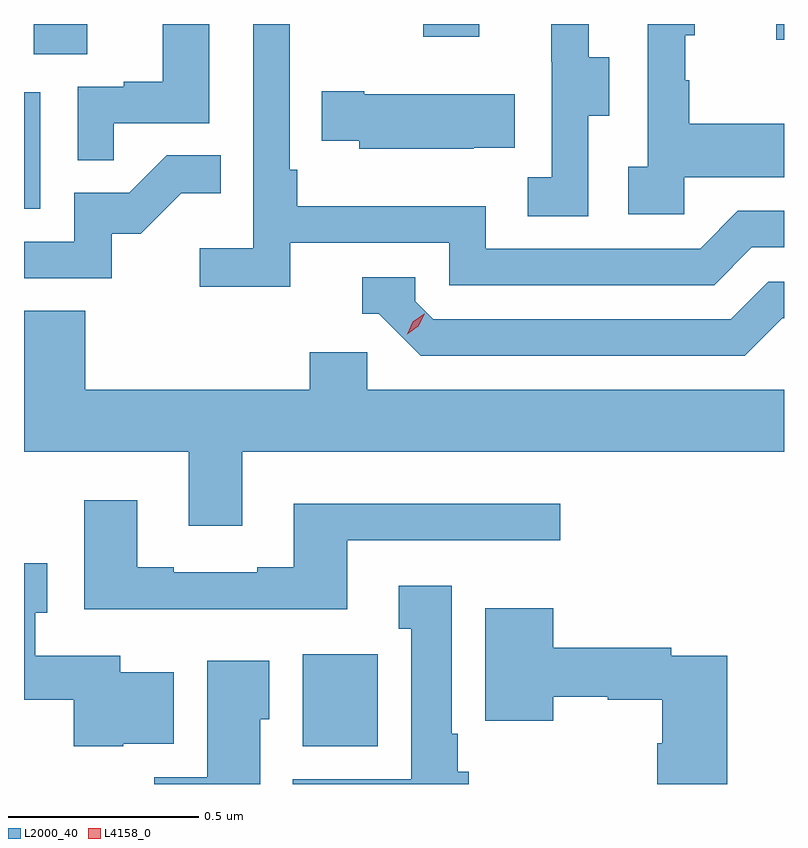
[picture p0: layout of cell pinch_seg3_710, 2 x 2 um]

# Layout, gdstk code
import gdstk
lib = gdstk.Library(unit=1e-6, precision=1e-09)
def R(c, l, rs):  # rectangles x0, y0, x1, y1
    for r in rs: c.add(gdstk.rectangle(r[:2], r[2:], *l))
def P(c, l, *ps):  # polygons
    for p in ps: c.add(gdstk.Polygon(p, *l))
L2000_40 = (2000, 40)
L4158_0 = (4158, 0)

pinch_seg3_710 = lib.new_cell('pinch_seg3_710')
R(pinch_seg3_710, L2000_40, [(1109.897,681.494,1110.094,681.736), (1109.163,682.908,1109.206,683.215), (1109.189,683.314,1109.329,683.394), (1111.142,683.352,1111.163,683.394), (1110.214,683.361,1110.361,683.394)])
P(pinch_seg3_710, L2000_40, [(1109.399,683.133),(1109.65,683.133),(1109.65,683.394),(1109.528,683.394),(1109.528,683.242),(1109.425,683.242),(1109.425,683.229),(1109.304,683.229),(1109.304,683.035),(1109.399,683.035)],
  [(1110.9,682.991),(1111.163,682.991),(1111.163,683.131),(1110.913,683.131),(1110.913,683.246),(1110.903,683.246),(1110.903,683.364),(1110.928,683.364),(1110.928,683.394),(1110.804,683.394),(1110.804,683.018),(1110.753,683.018),(1110.753,682.893),(1110.9,682.893)],
  [(1110.648,683.152),(1110.703,683.152),(1110.703,683.307),(1110.649,683.307),(1110.649,683.394),(1110.551,683.394),(1110.551,683.295),(1110.552,683.295),(1110.552,682.991),(1110.489,682.991),(1110.489,682.888),(1110.648,682.888)],
  [(1109.864,682.818),(1110.282,682.818),(1110.282,682.707),(1110.979,682.707),(1111.078,682.806),(1111.163,682.806),(1111.163,682.902),(1111.041,682.902),(1110.942,682.803),(1110.378,682.803),(1110.378,682.915),(1109.882,682.915),(1109.882,683.011),(1109.862,683.011),(1109.862,683.394),(1109.766,683.394),(1109.766,682.804),(1109.625,682.804),(1109.625,682.702),(1109.864,682.702)],
  [(1110.347,683.069),(1110.455,683.069),(1110.455,683.209),(1110.058,683.209),(1110.058,683.217),(1109.947,683.217),(1109.947,683.087),(1110.045,683.087),(1110.045,683.066),(1110.347,683.066)],
  [(1109.394,682.842),(1109.47,682.842),(1109.577,682.949),(1109.681,682.949),(1109.681,683.048),(1109.538,683.048),(1109.44,682.95),(1109.295,682.95),(1109.295,682.821),(1109.163,682.821),(1109.163,682.725),(1109.394,682.725)],
  [(1111.159,682.62),(1111.163,682.62),(1111.163,682.716),(1111.122,682.716),(1111.023,682.617),(1110.24,682.617),(1110.192,682.665),(1110.192,682.728),(1110.053,682.728),(1110.053,682.632),(1110.096,682.632),(1110.207,682.521),(1111.06,682.521)],
  [(1109.737,682.268),(1111.163,682.268),(1111.163,682.432),(1110.066,682.432),(1110.066,682.53),(1109.915,682.53),(1109.915,682.432),(1109.324,682.432),(1109.324,682.64),(1109.163,682.64),(1109.163,682.268),(1109.597,682.268),(1109.597,682.074),(1109.737,682.074)],
  [(1110.013,682.035),(1110.574,682.035),(1110.574,682.132),(1109.873,682.132),(1109.873,681.964),(1109.777,681.964),(1109.777,681.951),(1109.557,681.951),(1109.557,681.964),(1109.461,681.964),(1109.461,682.141),(1109.321,682.141),(1109.321,681.854),(1110.013,681.854)],
  [(1109.424,681.5),(1109.557,681.5),(1109.557,681.688),(1109.416,681.688),(1109.416,681.732),(1109.193,681.732),(1109.193,681.845),(1109.224,681.845),(1109.224,681.975),(1109.163,681.975),(1109.163,681.616),(1109.294,681.616),(1109.294,681.494),(1109.424,681.494)],
  [(1110.334,681.426),(1110.304,681.426),(1110.304,681.526),(1110.289,681.526),(1110.289,681.916),(1110.149,681.916),(1110.149,681.803),(1110.182,681.803),(1110.182,681.406),(1109.87,681.406),(1109.87,681.394),(1110.334,681.394)],
  [(1111.013,681.732),(1110.866,681.732),(1110.866,681.752),(1110.556,681.752),(1110.556,681.856),(1110.377,681.856),(1110.377,681.56),(1110.556,681.56),(1110.556,681.624),(1110.699,681.624),(1110.699,681.616),(1110.842,681.616),(1110.842,681.501),(1110.83,681.501),(1110.83,681.394),(1111.013,681.394)],
  [(1109.785,681.564),(1109.809,681.564),(1109.809,681.718),(1109.645,681.718),(1109.645,681.412),(1109.506,681.412),(1109.506,681.394),(1109.785,681.394)])
P(pinch_seg3_710, L4158_0, [(1110.171,682.577),(1110.171,682.578),(1110.186,682.611),(1110.216,682.631),(1110.217,682.631),(1110.217,682.631),(1110.201,682.598),(1110.171,682.577)])

lib.write_gds('pinch_seg3_710.gds')
